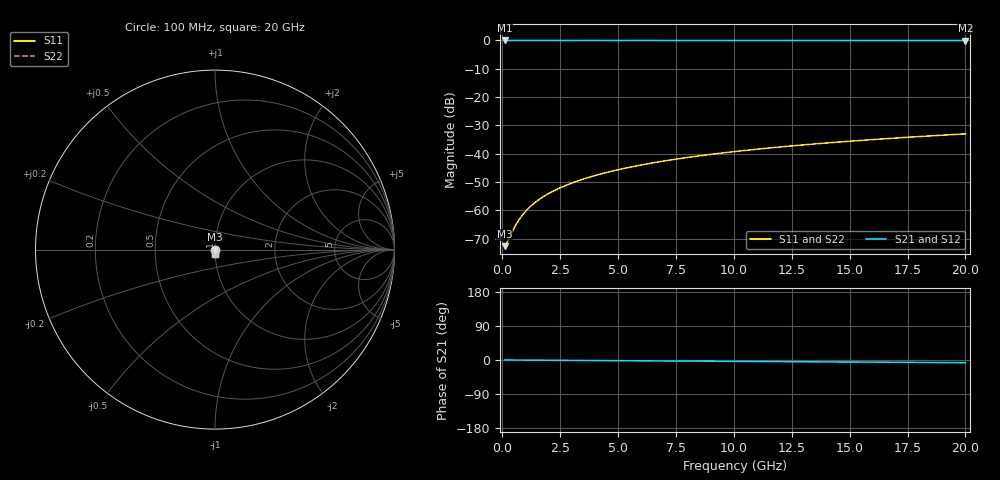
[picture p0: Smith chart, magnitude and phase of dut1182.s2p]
! Touchstone file exported from HFSS 2026.1.0
!  File:  C:/ffzhzh/LocalFiles/Ansys_Project_Files/temp_train_TSV_1182_1783192241_43440.aedt
!  Generated:  03:12:05 AM Jul  5, 2026
!  Design:  TSV
!  Project:  temp_train_TSV_1182_1783192241_43440
! Variables:
!  h_bsmrdl = 2um
!  h_ox = 20um
!  h_rdl = 5um
!  h_sub = 73.82um
!  h_tmrdl = 5um
!  h_tsv = 73.82um
!  h_via = 3um
!  l_bsmrdl = 300um
!  l_sub = 413.66um
!  l_tmrdl = 200um
!  m_sub = 200um
!  pitch = 23.23um
!  r_tsv = 6.83um
!  s_tmrdl = 10um
!  w_bsmrdl = 18um
!  w_sub = 500um
!  w_tmrdl = 12um
!  x_tsv_center1 = 206um
!  x_tsv_center2 = 524um
!  x_tsv_center3 = 736um
!  x_tsv_center4 = 1054um
!  x_tsv_center5 = 1266um
!  x_tsv_center6 = 1584um
# GHz S MA R 50.000000
! Terminal data exported
! Port[1] = TSV1_1_T1
! Port[2] = TSV1_1_T2
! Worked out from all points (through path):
!   200 points, 100 MHz to 20 GHz, reference 50 ohm
!   highest |S21| = 0.00 dB at 100 MHz (marker M1); lowest = 0.0 dB at 20 GHz (marker M2)
!   lowest |S11| = -72.6 dB at 100 MHz (marker M3), VSWR 1.00, Z = 50 - j0.00571 ohm
!   |S11| at or under -10 dB: start of sweep to end of sweep
!   |S22| runs from -72.6 to -33.0 dB; largest |S21 - S12| = 3.1e-15
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0.1  0.0002338 -14.1  0.9998 -0.0  0.9998 -0.0  0.0002338 -14.1
! Gamma 0 0 0 0
! Port Impedance 50 0 50 0
0.2  0.0002712 -26.0  0.9998 -0.1  0.9998 -0.1  0.0002712 -26.0
0.5  0.0004804 -47.4  0.9997 -0.2  0.9997 -0.2  0.0004804 -47.4
0.7  0.0006618 -55.2  0.9996 -0.3  0.9996 -0.3  0.0006618 -55.2
0.8  0.0007581 -58.2  0.9996 -0.3  0.9996 -0.3  0.0007581 -58.2
1  0.0009564 -62.9  0.9996 -0.4  0.9996 -0.4  0.0009564 -62.9
1.3  0.001261 -67.7  0.9995 -0.5  0.9995 -0.5  0.001261 -67.7
1.5  0.001466 -70.1  0.9995 -0.5  0.9995 -0.5  0.001466 -70.1
1.7  0.001673 -71.9  0.9995 -0.6  0.9995 -0.6  0.001673 -71.9
2.2  0.002193 -75.2  0.9994 -0.8  0.9994 -0.8  0.002193 -75.2
2.8  0.002826 -77.6  0.9993 -1.0  0.9993 -1.0  0.002826 -77.6
3.5  0.003577 -79.5  0.9993 -1.3  0.9993 -1.3  0.003577 -79.5
4.2  0.00434 -80.9  0.9992 -1.5  0.9992 -1.5  0.00434 -80.9
5  0.005224 -82.1  0.9991 -1.8  0.9991 -1.8  0.005224 -82.1
5.9  0.006231 -83.3  0.999 -2.1  0.999 -2.1  0.006231 -83.3
6.8  0.007247 -84.2  0.9989 -2.4  0.9989 -2.4  0.007247 -84.2
8.3  0.008953 -85.6  0.9988 -3.0  0.9988 -3.0  0.008953 -85.6
10.1  0.01101 -87.0  0.9987 -3.6  0.9987 -3.6  0.01101 -87.0
11.7  0.01285 -88.1  0.9986 -4.1  0.9986 -4.1  0.01285 -88.1
13.4  0.0148 -89.2  0.9985 -4.7  0.9985 -4.7  0.0148 -89.2
16.7  0.01861 -90.9  0.9982 -5.9  0.9982 -5.9  0.01861 -90.9
20  0.02244 -92.5  0.998 -7.1  0.998 -7.1  0.02244 -92.5
